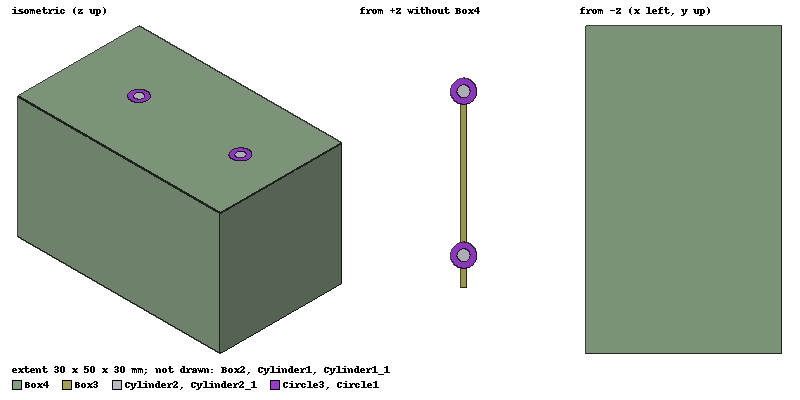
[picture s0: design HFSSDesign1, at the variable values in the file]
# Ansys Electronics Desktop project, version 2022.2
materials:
  vacuum: permittivity=1
  Al2_O3_ceramic: permittivity=9.8
  aluminum: permeability=1.000021 conductivity=38000000
  perfect conductor: conductivity=1e+30
  sapphire: permittivity=10

design HFSSDesign1 (HFSS, Eigenmode, model units mm)
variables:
  radius1 = 1mm
  thivkness = 5mm
  thickness = 5mm
  offset = 10mm
  Ymax = 50mm
  shiftport = 25mm
  Zmax = 30mm
  Xmax = 30mm
  radius = 2mm
  sub_xmax = 1mm
  pad_z = 0.5mm
  jj_len = 0.05mm
  pad_y = 0.25mm
  trans_gap = 0.01mm
  Lj1 = 10nH
  Lj = 10nH
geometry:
  Box2 [vacuum] = box(corner=(-(Xmax - thivkness*2)/2, -(Ymax - thivkness*2)/2, -(Zmax - thivkness*2)/2), size=(Xmax - thivkness*2, Ymax - thickness*2, Zmax - thickness*2))
  Box2_1 = Box2.copy()
  Cylinder2 [perfect conductor] = cylinder(axis=Z, base_centre=(0mm, -(Ymax/2-thickness-offset), Zmax/2), radius=radius1, height=-thickness)
  Cylinder2_1 [perfect conductor] = Cylinder2.duplicate_along_line(step=(0mm, shiftport, 0mm), total=2)
  Cylinder2_2 = Cylinder2.copy()
  Cylinder2_3 = Cylinder2.copy()
  Box2.subtract(Cylinder2_3)
  Cylinder2_1_1 = Cylinder2_1.copy()
  Cylinder2_1_2 = Cylinder2_1.copy()
  Box2.subtract(Cylinder2_1_2)
  Cylinder1 [vacuum] = cylinder(axis=Z, base_centre=(0mm, -(Ymax/2-thickness-offset), Zmax/2), radius=radius, height=-thickness)
  Cylinder1_1 [vacuum] = Cylinder1.duplicate_along_line(step=(0mm, shiftport, 0mm), total=2)
  Cylinder1.subtract(Cylinder2_2)
  Cylinder1_1.subtract(Cylinder2_1_1)
  Circle1 = circle(normal=Z, centre=(0mm, -(Ymax/2-thickness-offset), Zmax/2), radius=radius)
  Circle2 = circle(normal=Z, centre=(0mm, -(Ymax/2-thickness-offset), Zmax/2), radius=radius1)
  Circle1.subtract(Circle2)
  Circle3 = circle(normal=Z, centre=(0mm, 15mm, 15mm), radius=radius)
  Circle4 = circle(normal=Z, centre=(0mm, 15mm, 15mm), radius=radius1)
  Circle3.subtract(Circle4)
  Box3 [sapphire] = box(corner=(-sub_xmax/2, -(Ymax - 2*thickness - 2*5mm)/2, -(Zmax - 2*thickness - 2*5mm)/2), size=(sub_xmax, Ymax - 2*thickness - 2*5mm, Zmax - 2*thickness - 2*5mm))
  pad_verti_down [aluminum] = rectangle(corner=(sub_xmax/2, -pad_y/2, -pad_z - jj_len/2), y_size=pad_y, z_size=pad_z)
  pad_verti_up [aluminum] = pad_verti_down.duplicate_along_line(step=(0mm, 0mm, pad_z + jj_len), total=2)
  josephson_junction_verti [Al2_O3_ceramic] = rectangle(corner=(sub_xmax/2, -jj_len/2, -jj_len/2), y_size=jj_len, z_size=jj_len)
  Polyline1 = polyline((sub_xmax/2, 0mm, - jj_len/2) (sub_xmax/2, 0mm, jj_len/2))
  pad_hori_left [aluminum] = rectangle(corner=(sub_xmax/2, -pad_y/2 + pad_y + trans_gap, -pad_z - jj_len/2), y_size=pad_y, z_size=pad_z)
  pad_hori_right [aluminum] = pad_hori_left.duplicate_along_line(step=(0mm, pad_y + jj_len, 0mm), total=2)
  josephson_junction_hori [Al2_O3_ceramic] = rectangle(corner=(sub_xmax/2, pad_y/2 + pad_y + trans_gap, -pad_z/2-jj_len), y_size=jj_len, z_size=jj_len)
  Polyline2 = polyline((sub_xmax/2, -pad_y /2 + pad_y + pad_y + trans_gap, -pad_z/2 -jj_len/2) (sub_xmax/2, -pad_y /2 + pad_y  + pad_y+ trans_gap + jj_len, -pad_z/2 -jj_len/2))
  Box4 [perfect conductor] = box(corner=(-Xmax/2, -Ymax/2, -Zmax/2), size=(Xmax, Ymax, Zmax))
  Box4.subtract(Box2_1)
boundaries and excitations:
  LumpRLC1: Lumped RLC Objects=Circle1 CurrentLine{(-50mm, -9000mm, 15000mm) -> (250mm, -8050mm, 15000mm)} RLC_Type=Parallel Resistance=50ohm
  LumpRLC2: Lumped RLC Objects=Circle3 CurrentLine{(-100mm, 16000mm, 15000mm) -> (-50mm, 16950mm, 15000mm)} RLC_Type=Parallel Resistance=50ohm
  PerfE1: Perfect E Objects=pad_verti_down
  PerfE2: Perfect E Objects=pad_verti_up
  LumpRLC3: Lumped RLC Objects=josephson_junction_verti CurrentLine{(0.5, 0, -0.025) -> (0.5, 0, 0.025)} RLC_Type=Parallel Inductance=Lj1
  PerfE3: Perfect E Objects=pad_hori_left
  PerfE4: Perfect E Objects=pad_hori_right
  LumpRLC4: Lumped RLC Objects=josephson_junction_hori CurrentLine{(0.5, 0.385, -0.275) -> (0.5, 0.435, -0.275)} RLC_Type=Parallel Inductance=Lj
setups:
  Setup1: HfssEigen MinimumFrequency=3GHz NumModes=2 MaxDeltaFreq=10 ConvergeOnRealFreq=false MaximumPasses=3 MinimumPasses=1 MinimumConvergedPasses=1 PercentRefinement=30 BasisOrder=1
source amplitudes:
  #-10:1: 0 0deg
  #-10:2: 1 0deg
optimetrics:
  ParametricSetup1: Parametric Sim._Setups=[Setup1]
  ParametricSetup2: Parametric Sim._Setups=[Setup1]
    sweep trans_gap: LINC 0.005mm 0.015mm 1
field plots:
  Mag_H1: H Field on Setup1 : LastAdaptive at Phase=0deg
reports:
  Eigen Modes Plot 1: re(Mode(1)), re(Mode(2)) vs trans_gap on Setup1 : AdaptivePass [Pass=all]
  Eigen Q Plot 1: Q(1) vs trans_gap on Setup1 : AdaptivePass [Pass=all]
